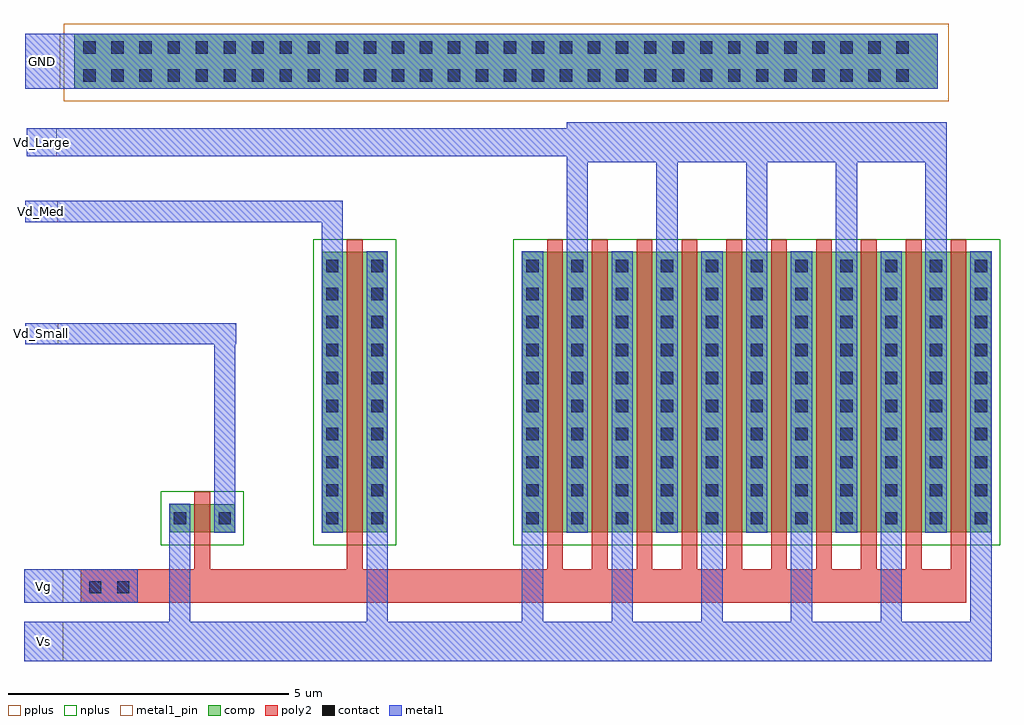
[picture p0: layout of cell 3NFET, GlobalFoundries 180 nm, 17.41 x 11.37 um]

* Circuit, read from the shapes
.subckt 3NFET GND Vd_Large Vd_Med Vd_Small Vg Vs
XM1 Vd_Small Vg Vs GND nfet_03v3 w=0.5u l=0.28u
XM2 Vs Vg Vd_Med GND nfet_03v3 w=5u l=0.28u
XM3 Vd_Large Vg Vs GND nfet_03v3 w=5u l=0.28u m=10
.ends

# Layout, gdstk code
import gdstk
lib = gdstk.Library(unit=1e-6, precision=1e-09)
def R(c, l, rs):  # rectangles x0, y0, x1, y1
    for r in rs: c.add(gdstk.rectangle(r[:2], r[2:], *l))
def A(c, l, x, y, w, h, nx, ny, dx, dy):  # array of equal rectangles
    R(c, l, [(x+i*dx, y+j*dy, x+i*dx+w, y+j*dy+h) for i in range(nx) for j in range(ny)])
comp = (22, 0)
poly2 = (30, 0)
pplus = (31, 0)
nplus = (32, 0)
contact = (33, 0)
metal1 = (34, 0)
metal1_pin = (34, 10)

nfet = lib.new_cell('nfet')
R(nfet, comp, [(0,0,1.16,0.5)])
R(nfet, poly2, [(0.44,-0.22,0.72,0.72)])
R(nfet, nplus, [(-0.16,-0.23,1.32,0.73)])
R(nfet, contact, [(0.07,0.14,0.29,0.36), (0.87,0.14,1.09,0.36)])
R(nfet, metal1, [(-0.01,-0.01,0.37,0.51), (0.79,-0.01,1.17,0.51)])

nfet_6 = lib.new_cell('nfet$6')
R(nfet_6, comp, [(0,0,1.16,5)])
R(nfet_6, poly2, [(0.44,-0.22,0.72,5.22)])
R(nfet_6, nplus, [(-0.16,-0.23,1.32,5.23)])
A(nfet_6, contact, 0.07, 0.14, 0.22, 0.22, 1, 10, 0, 0.5)
A(nfet_6, contact, 0.87, 0.14, 0.22, 0.22, 1, 10, 0, 0.5)
R(nfet_6, metal1, [(-0.01,-0.01,0.37,5.01), (0.79,-0.01,1.17,5.01)])

nfet_1 = lib.new_cell('nfet$1')
R(nfet_1, comp, [(0,0,8.36,5)])
A(nfet_1, poly2, 0.44, -0.22, 0.28, 5.44, 10, 1, 0.8, 0)
R(nfet_1, nplus, [(-0.16,-0.23,8.52,5.23)])
A(nfet_1, contact, 0.07, 0.14, 0.22, 0.22, 11, 10, 0.8, 0.5)
A(nfet_1, metal1, -0.01, -0.01, 0.38, 5.02, 11, 1, 0.8, 0)

c_3nfet = lib.new_cell('3NFET')
R(c_3nfet, comp, [(-4.42,4,10.98,4.98)])
R(c_3nfet, poly2, [(-4.305,-5.17,11.49,-4.57)])
R(c_3nfet, pplus, [(-4.61,3.78,11.18,5.16)])
A(c_3nfet, contact, -4.26, 4.13, 0.22, 0.22, 30, 2, 0.5, 0.5)
R(c_3nfet, contact, [(-4.16,-5,-3.94,-4.78), (-3.66,-5,-3.44,-4.78)])
R(c_3nfet, metal1, [(-5.32,-6.21,-2.75,-5.51), (-2.75,-6.21,11.94,-5.51), (-5.32,-5.17,-3.29,-4.57), (-5.3,-0.56,-4.71,-0.18), (-5.3,1.62,-4.72,2), (4.36,2.69,11.14,3.4), (-5.27,2.795,-4.74,3.295), (-5.3,4,-4.42,4.98), (-4.42,4,10.98,4.98)])
R(c_3nfet, metal1_pin, [(-5.32,-6.21,-4.62,-5.51), (-5.32,-5.17,-4.62,-4.57), (-5.3,-0.56,-4.71,-0.18), (-5.3,1.62,-4.72,2), (-5.27,2.795,-4.74,3.295), (-5.3,4,-4.67,4.98)])
c_3nfet.add(gdstk.FlexPath([(3.75,-3.92),(3.75,-5.51)], 0.38, ends="flush", simple_path=True, layer=34, datatype=0))  # metal1
c_3nfet.add(gdstk.FlexPath([(4.55,2.69),(4.55,1.1)], 0.38, ends="flush", simple_path=True, layer=34, datatype=0))  # metal1
c_3nfet.add(gdstk.FlexPath([(5.35,-3.92),(5.35,-5.51)], 0.38, ends="flush", simple_path=True, layer=34, datatype=0))  # metal1
c_3nfet.add(gdstk.FlexPath([(6.15,2.69),(6.15,1.1)], 0.38, ends="flush", simple_path=True, layer=34, datatype=0))  # metal1
c_3nfet.add(gdstk.FlexPath([(6.95,-3.92),(6.95,-5.51)], 0.38, ends="flush", simple_path=True, layer=34, datatype=0))  # metal1
c_3nfet.add(gdstk.FlexPath([(7.75,2.69),(7.75,1.1)], 0.38, ends="flush", simple_path=True, layer=34, datatype=0))  # metal1
c_3nfet.add(gdstk.FlexPath([(8.55,-3.92),(8.55,-5.51)], 0.38, ends="flush", simple_path=True, layer=34, datatype=0))  # metal1
c_3nfet.add(gdstk.FlexPath([(9.35,2.69),(9.35,1.1)], 0.38, ends="flush", simple_path=True, layer=34, datatype=0))  # metal1
c_3nfet.add(gdstk.FlexPath([(10.15,-3.92),(10.15,-5.51)], 0.38, ends="flush", simple_path=True, layer=34, datatype=0))  # metal1
c_3nfet.add(gdstk.FlexPath([(10.95,2.69),(10.95,1.1)], 0.38, ends="flush", simple_path=True, layer=34, datatype=0))  # metal1
c_3nfet.add(gdstk.FlexPath([(11.75,-3.92),(11.75,-5.51)], 0.38, ends="flush", simple_path=True, layer=34, datatype=0))  # metal1
c_3nfet.add(gdstk.FlexPath([(0.98,-3.92),(0.98,-5.51)], 0.38, ends="flush", simple_path=True, layer=34, datatype=0))  # metal1
c_3nfet.add(gdstk.FlexPath([(-1.74,-3.4),(-1.74,-0.18)], 0.38, ends="flush", simple_path=True, layer=34, datatype=0))  # metal1
c_3nfet.add(gdstk.FlexPath([(0.18,1.1),(0.18,1.81)], 0.38, ends="flush", simple_path=True, layer=34, datatype=0))  # metal1
c_3nfet.add(gdstk.FlexPath([(-2.54,-3.92),(-2.54,-5.51)], 0.38, ends="flush", simple_path=True, layer=34, datatype=0))  # metal1
c_3nfet.add(gdstk.FlexPath([(-1.53,-0.37),(-4.71,-0.37)], 0.38, ends="flush", simple_path=True, layer=34, datatype=0))  # metal1
c_3nfet.add(gdstk.FlexPath([(0.37,1.81),(-4.72,1.81)], 0.38, ends="flush", simple_path=True, layer=34, datatype=0))  # metal1
c_3nfet.add(gdstk.FlexPath([(4.36,3.045),(-4.74,3.045)], 0.5, ends="flush", simple_path=True, layer=34, datatype=0))  # metal1
c_3nfet.add(gdstk.FlexPath([(-2.14,-4.13),(-2.14,-4.57)], 0.28, ends="flush", simple_path=True, layer=30, datatype=0))  # poly2
c_3nfet.add(gdstk.FlexPath([(4.15,-4.13),(4.15,-4.57)], 0.28, ends="flush", simple_path=True, layer=30, datatype=0))  # poly2
c_3nfet.add(gdstk.FlexPath([(4.95,-4.13),(4.95,-4.57)], 0.28, ends="flush", simple_path=True, layer=30, datatype=0))  # poly2
c_3nfet.add(gdstk.FlexPath([(5.75,-4.13),(5.75,-4.57)], 0.28, ends="flush", simple_path=True, layer=30, datatype=0))  # poly2
c_3nfet.add(gdstk.FlexPath([(6.55,-4.13),(6.55,-4.57)], 0.28, ends="flush", simple_path=True, layer=30, datatype=0))  # poly2
c_3nfet.add(gdstk.FlexPath([(7.35,-4.13),(7.35,-4.57)], 0.28, ends="flush", simple_path=True, layer=30, datatype=0))  # poly2
c_3nfet.add(gdstk.FlexPath([(8.15,-4.13),(8.15,-4.57)], 0.28, ends="flush", simple_path=True, layer=30, datatype=0))  # poly2
c_3nfet.add(gdstk.FlexPath([(8.95,-4.13),(8.95,-4.57)], 0.28, ends="flush", simple_path=True, layer=30, datatype=0))  # poly2
c_3nfet.add(gdstk.FlexPath([(9.75,-4.13),(9.75,-4.57)], 0.28, ends="flush", simple_path=True, layer=30, datatype=0))  # poly2
c_3nfet.add(gdstk.FlexPath([(10.55,-4.13),(10.55,-4.57)], 0.28, ends="flush", simple_path=True, layer=30, datatype=0))  # poly2
c_3nfet.add(gdstk.FlexPath([(11.35,-4.13),(11.35,-4.57)], 0.28, ends="flush", simple_path=True, layer=30, datatype=0))  # poly2
c_3nfet.add(gdstk.FlexPath([(0.58,-4.13),(0.58,-4.57)], 0.28, ends="flush", simple_path=True, layer=30, datatype=0))  # poly2
c_3nfet.add(gdstk.Reference(nfet, (-2.72,-3.91)))
c_3nfet.add(gdstk.Reference(nfet_6, (0,-3.91)))
c_3nfet.add(gdstk.Reference(nfet_1, (3.57,-3.91)))
c_3nfet.add(gdstk.Label('GND', (-4.985,4.49), layer=34, texttype=10))
c_3nfet.add(gdstk.Label('Vd_Large', (-5.005,3.045), layer=34, texttype=10))
c_3nfet.add(gdstk.Label('Vd_Med', (-5.01,1.81), layer=34, texttype=10))
c_3nfet.add(gdstk.Label('Vd_Small', (-5.005,-0.37), layer=34, texttype=10))
c_3nfet.add(gdstk.Label('Vg', (-4.97,-4.87), layer=34, texttype=10))
c_3nfet.add(gdstk.Label('Vs', (-4.97,-5.86), layer=34, texttype=10))

lib.write_gds('3NFET.gds')
